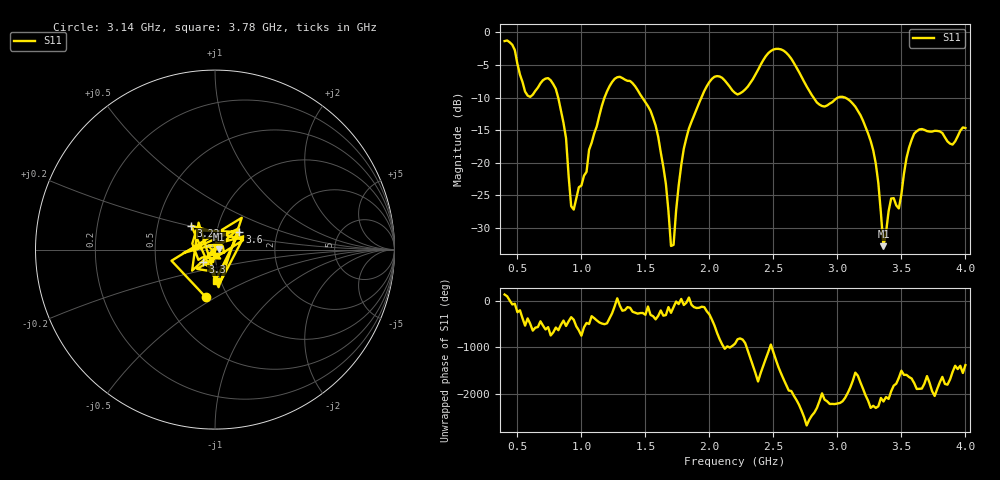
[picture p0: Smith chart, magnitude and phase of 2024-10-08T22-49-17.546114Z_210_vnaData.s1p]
! Created with skrf (http://scikit-rf.org).
# Hz S RI R 50.0
!freq ReS11 ImS11
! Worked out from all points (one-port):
!   181 points, 400 MHz to 4 GHz, reference 50 ohm
!   lowest |S11| = -32.8 dB at 3.36 GHz (marker M1), VSWR 1.05, Z = 52.3 + j0.131 ohm
!   |S11| at or under -10 dB: 818.5 MHz to 1.181 GHz (362.1 MHz wide, 36.2 % of centre); 1.476 GHz to 1.938 GHz (462.4 MHz wide, 27.1 % of centre); 3.059 GHz to end of sweep (the widest 3 of 4)
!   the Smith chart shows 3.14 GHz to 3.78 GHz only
!   S11 on the Smith chart (normalised r, x): 3.14 GHz: 0.79, -0.45; 3.22 GHz: 0.74, +0.21; 3.3 GHz: 0.86, -0.12; 3.6 GHz: 1.28, +0.26; 3.78 GHz: 0.96, -0.35
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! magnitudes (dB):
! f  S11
! 400 MHz  -1.3
! 580 MHz  -9.7
! 760 MHz  -7.4
! 860 MHz  -13.9
! 940 MHz  -27.2
! 1.18 GHz  -10.0
! 1.3 GHz  -6.8
! 1.58 GHz  -14.3
! 1.66 GHz  -23.2
! 1.7 GHz  -32.8
! 1.76 GHz  -23.5
! 1.84 GHz  -14.7
! 1.98 GHz  -8.3
! 2.2 GHz  -9.3
! 2.5 GHz  -2.6
! 2.66 GHz  -4.7
! 2.86 GHz  -11.1
! 3.1 GHz  -10.5
! 3.14 GHz  -11.4
! 3.22 GHz  -14.5
! 3.3 GHz  -20.1
! 3.36 GHz  -32.8
! 3.42 GHz  -25.5
! 3.48 GHz  -27.0
! 3.56 GHz  -17.7
! 3.6 GHz  -15.5
! 3.78 GHz  -15.1
! 4 GHz  -14.7
